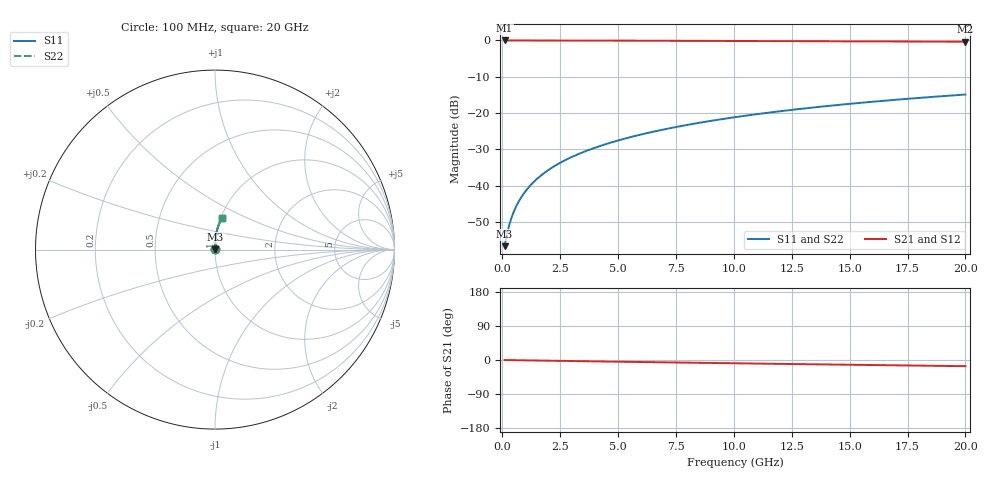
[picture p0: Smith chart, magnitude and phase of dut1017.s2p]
! Touchstone file exported from HFSS 2024.1.0
!  File:  C:/UserFiles/LocalFiles/RDL_TSV_Batchsim/temp_RDL_top_1017_1780043044.aedt
!  Generated:  04:26:25 PM May 29, 2026
!  Design:  RDL_top
!  Project:  temp_RDL_top_1017_1780043044
!  Setup:  Setup1
!  Solution:  Sweep
! Variables:
!  dtsv = 10.80580581um
!  hbump = 3um
!  htsv = 63.89um
!  ldown = 100um
!  lrdl = 209.09um
!  p = 40
!  p1 = 43.88um
!  rhole = 1um
!  t = 450um
!  tdown = 3.915915916um
!  trdl = 3.94um
!  wdown = 15.38538539um
!  wrdl = 18.79um
# GHz S MA R 50.000000
! Terminal data exported
! Port[1] = Box2_T1
! Port[2] = Box2_T2
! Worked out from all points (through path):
!   200 points, 100 MHz to 20 GHz, reference 50 ohm
!   highest |S21| = -0.01 dB at 100 MHz (marker M1); lowest = -0.4 dB at 20 GHz (marker M2)
!   group delay of S21, straight-line fit = 2.25 ps
!   lowest |S11| = -56.6 dB at 100 MHz (marker M3), VSWR 1.00, Z = 50.1 + j0.0894 ohm
!   |S11| at or under -10 dB: start of sweep to end of sweep
!   |S22| runs from -56.6 to -14.9 dB; largest |S21 - S12| = 3.1e-15
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0.1  0.001478 37.1  0.9988 -0.1  0.9988 -0.1  0.001478 37.1
! Gamma 0 0 0 0
! Port Impedance 50 0 50 0
0.2  0.002141 55.1  0.9988 -0.2  0.9988 -0.2  0.002141 55.1
0.3  0.002887 63.8  0.9987 -0.3  0.9987 -0.3  0.002887 63.8
0.4  0.003654 69.0  0.9986 -0.4  0.9986 -0.4  0.003654 69.0
0.5  0.004431 72.4  0.9986 -0.5  0.9986 -0.5  0.004431 72.4
0.6  0.005215 74.9  0.9985 -0.6  0.9985 -0.6  0.005215 74.9
0.8  0.006801 78.3  0.9984 -0.7  0.9984 -0.7  0.006801 78.3
1.1  0.009212 81.3  0.9983 -1.0  0.9983 -1.0  0.009212 81.3
1.5  0.01247 83.5  0.998 -1.4  0.998 -1.4  0.01247 83.5
1.8  0.01492 84.5  0.9977 -1.7  0.9977 -1.7  0.01492 84.5
2.1  0.0174 85.3  0.9974 -1.9  0.9974 -1.9  0.0174 85.3
2.7  0.02239 86.3  0.9967 -2.5  0.9967 -2.5  0.02239 86.3
3.5  0.02912 87.0  0.9956 -3.2  0.9956 -3.2  0.02912 87.0
4.2  0.0351 87.3  0.9945 -3.8  0.9945 -3.8  0.0351 87.3
5  0.04204 87.5  0.993 -4.5  0.993 -4.5  0.04204 87.5
5.9  0.04997 87.5  0.9912 -5.3  0.9912 -5.3  0.04997 87.4
6.8  0.05803 87.3  0.9894 -6.0  0.9894 -6.0  0.05803 87.3
8.4  0.07261 86.6  0.9859 -7.4  0.9859 -7.4  0.07261 86.6
10.1  0.08836 85.6  0.9822 -8.7  0.9822 -8.7  0.08836 85.6
13.4  0.1192 83.2  0.9749 -11.3  0.9749 -11.3  0.1192 83.2
16.7  0.15 80.5  0.9676 -13.9  0.9676 -13.9  0.1499 80.5
20  0.1801 77.8  0.9601 -16.3  0.9601 -16.3  0.1801 77.8
